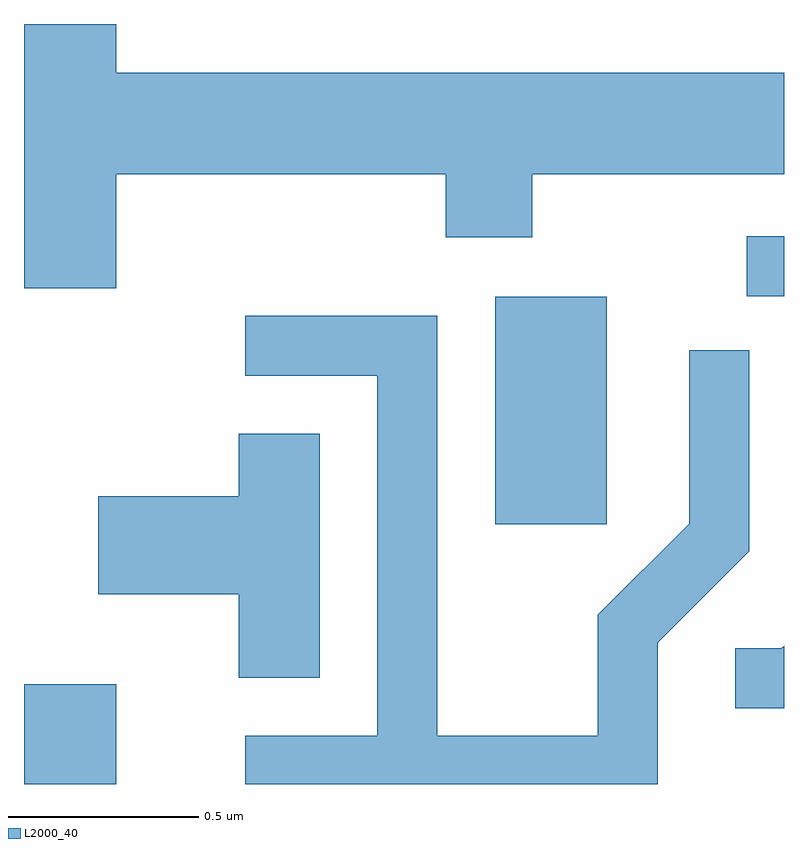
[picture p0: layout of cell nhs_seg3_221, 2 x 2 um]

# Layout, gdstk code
import gdstk
lib = gdstk.Library(unit=1e-6, precision=1e-09)
def R(c, l, rs):  # rectangles x0, y0, x1, y1
    for r in rs: c.add(gdstk.rectangle(r[:2], r[2:], *l))
def P(c, l, *ps):  # polygons
    for p in ps: c.add(gdstk.Polygon(p, *l))
L2000_40 = (2000, 40)

nhs_seg3_221 = lib.new_cell('nhs_seg3_221')
R(nhs_seg3_221, L2000_40, [(186.611,1199.892,186.854,1200.154), (187.851,1200.576,188.144,1201.174), (188.513,1201.176,188.611,1201.334)])
P(nhs_seg3_221, L2000_40, [(186.854,1201.496),(187.721,1201.496),(187.721,1201.331),(187.949,1201.331),(187.949,1201.496),(188.611,1201.496),(188.611,1201.764),(186.854,1201.764),(186.854,1201.892),(186.611,1201.892),(186.611,1201.196),(186.854,1201.196)],
  [(188.279,1200.264),(188.519,1200.504),(188.519,1201.033),(188.361,1201.033),(188.361,1200.577),(188.121,1200.337),(188.121,1200.019),(187.699,1200.019),(187.699,1201.124),(187.193,1201.124),(187.193,1200.966),(187.541,1200.966),(187.541,1200.019),(187.193,1200.019),(187.193,1199.892),(188.279,1199.892)],
  [(187.389,1200.814),(187.176,1200.814),(187.176,1200.649),(186.806,1200.649),(186.806,1200.391),(187.176,1200.391),(187.176,1200.171),(187.389,1200.171)],
  [(188.611,1200.256),(188.604,1200.249),(188.483,1200.249),(188.483,1200.091),(188.611,1200.091)])

lib.write_gds('nhs_seg3_221.gds')
